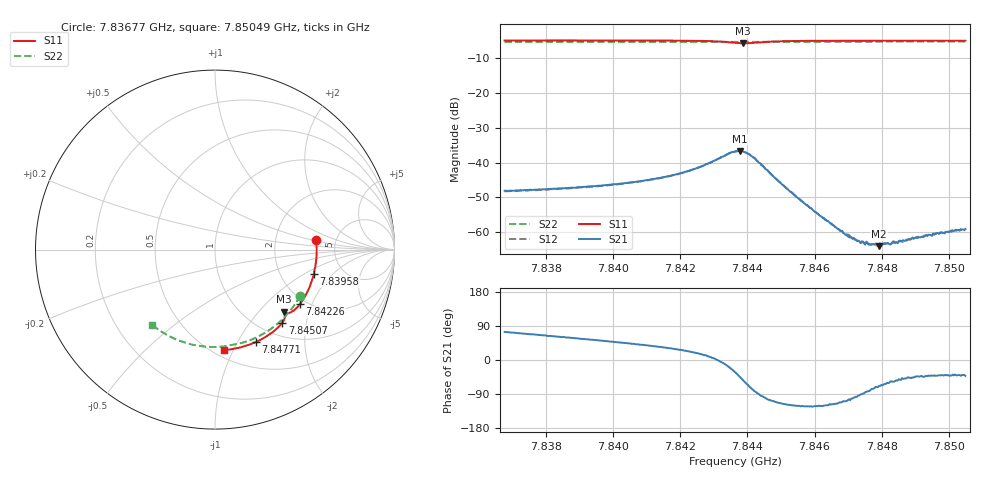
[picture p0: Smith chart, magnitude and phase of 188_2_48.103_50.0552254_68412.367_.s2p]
#  HZ  S  RI  R  50.00
! Rohde & Schwarz Vector Network Analyzer
! Rohde-Schwarz,ZNB20-2Port,1311601062101988,3.16
! Created: UTC 12/23/2023, 3:53:28 AM
! freq[Hz]  re:S11  im:S11  re:S21  im:S21  re:S12  im:S12  re:S22  im:S22
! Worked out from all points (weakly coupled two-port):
!   401 points, 7.83677 GHz to 7.85049 GHz, reference 50 ohm
!   highest |S21| = -36.64 dB at 7.84377 GHz (marker M1); lowest = -64.0 dB at 7.84792 GHz (marker M2)
!   lowest |S11| = -5.7 dB at 7.84387 GHz (marker M3), VSWR 3.14, Z = 73.4 - j69.3 ohm
!   |S11| at or under -10 dB: nowhere
!   |S22| runs from -5.4 to -5.3 dB; largest |S21 - S12| = 0.00031
!   S11 on the Smith chart (normalised r, x): 7.83677 GHz: 3.52, +0.53; 7.83958 GHz: 3.08, -1.23; 7.84226 GHz: 1.85, -1.65; 7.84507 GHz: 1.25, -1.46; 7.84771 GHz: 0.79, -1.20; 7.85049 GHz: 0.56, -0.92
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7.836772e9  0.5637 0.0509  0.00108 0.00377  0.00111 0.00369  0.475 -0.2561
7.83907e9  0.5577 -0.1015  0.00249 0.00368  0.00249 0.00362  0.3791 -0.3849
7.839584e9  0.5504 -0.1354  0.0029 0.00363  0.00285 0.0036  0.3526 -0.4095
7.841368e9  0.5079 -0.249  0.0049 0.00341  0.00486 0.00343  0.2496 -0.4801
7.84226e9  0.474 -0.3033  0.00701 0.00296  0.00697 0.00295  0.1924 -0.5059
7.843152e9  0.4228 -0.3491  0.0115 -0.000415  0.0113 -0.000258  0.1325 -0.5241
7.843632e9  0.389 -0.3524  0.0122 -0.0077  0.0122 -0.00763  0.1004 -0.5297
7.843769e9  0.3845 -0.3484  0.0106 -0.0102  0.0105 -0.01  0.0913 -0.5311
7.843872e9  0.3839 -0.3457  0.00863 -0.0116  0.00867 -0.0116  0.0851 -0.5322
7.844009e9  0.3865 -0.345  0.00564 -0.0122  0.00566 -0.0122  0.0763 -0.5338
7.844215e9  0.3918 -0.3514  0.00151 -0.0115  0.00158 -0.0115  0.063 -0.5365
7.845073e9  0.3747 -0.4072  -0.00204 -0.00421  -0.00203 -0.00424  0.00312 -0.5427
7.84593e9  0.3317 -0.4513  -0.00117 -0.00178  -0.00116 -0.00182  -0.0573 -0.5404
7.846685e9  0.2893 -0.4818  -0.000463 -0.00101  -0.000456 -0.00102  -0.1099 -0.533
7.846959e9  0.2733 -0.4915  -0.000275 -0.000857  -0.000284 -0.000881  -0.1287 -0.5289
7.847302e9  0.2528 -0.5026  -4.83e-05 -0.000753  -7.41e-05 -0.000737  -0.1519 -0.5228
7.847439e9  0.2446 -0.5068  1.59e-05 -0.000717  1.78e-05 -0.000735  -0.1613 -0.5201
7.847714e9  0.2279 -0.5147  0.000159 -0.000649  0.000146 -0.000653  -0.1795 -0.5142
7.847919e9  0.2152 -0.5202  0.000232 -0.000584  0.000262 -0.000631  -0.1931 -0.5094
7.848228e9  0.196 -0.5278  0.000339 -0.000576  0.000342 -0.000602  -0.2134 -0.5015
7.8496e9  0.1078 -0.5524  0.000702 -0.000626  0.000706 -0.000653  -0.2985 -0.4569
7.850492e9  0.0492 -0.5601  0.000824 -0.000739  0.00082 -0.000738  -0.3491 -0.4201
